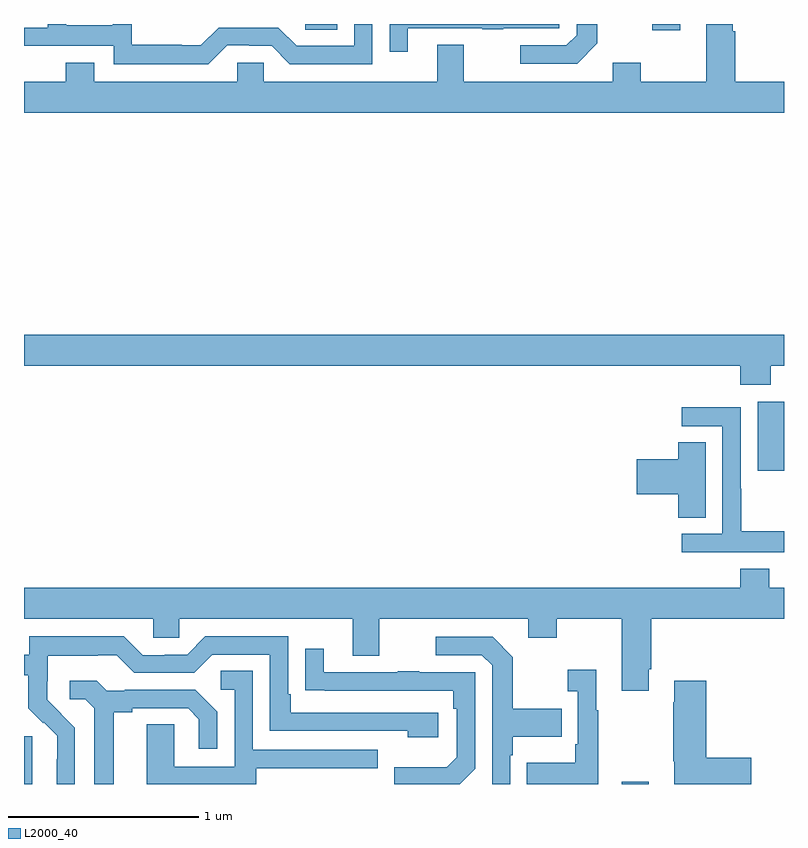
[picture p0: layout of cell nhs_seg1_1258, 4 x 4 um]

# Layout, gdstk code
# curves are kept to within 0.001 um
import gdstk
lib = gdstk.Library(unit=1e-6, precision=1e-09)
def R(c, l, rs):  # rectangles x0, y0, x1, y1
    for r in rs: c.add(gdstk.rectangle(r[:2], r[2:], *l))
def P(c, l, *ps):  # polygons
    for p in ps: c.add(gdstk.Polygon(p, *l))
L2000_40 = (2000, 40)

nhs_seg1_1258 = lib.new_cell('nhs_seg1_1258')
R(nhs_seg1_1258, L2000_40, [(179,548.199,179.044,548.451), (182.147,548.199,182.287,548.212), (182.861,549.849,183,550.21), (182.307,552.165,182.455,552.199), (180.48,552.169,180.648,552.199)])
P(nhs_seg1_1258, L2000_40, [(180.069,552.087),(180.185,552.087),(180.185,552.084),(180.303,552.084),(180.399,551.988),(180.834,551.988),(180.834,552.199),(180.738,552.199),(180.738,552.084),(180.435,552.084),(180.339,552.18),(180.024,552.18),(179.931,552.087),(179.831,552.087),(179.831,552.091),(179.568,552.091),(179.568,552.199),(179.467,552.199),(179.467,552.193),(179.223,552.193),(179.223,552.199),(179.124,552.199),(179.124,552.18),(179,552.18),(179,552.084),(179.472,552.084),(179.472,551.987),(179.969,551.987)],
  [(183,551.896),(182.744,551.896),(182.744,552.161),(182.731,552.161),(182.731,552.199),(182.591,552.199),(182.591,551.896),(182.247,551.896),(182.247,551.995),(182.099,551.995),(182.099,551.896),(181.315,551.896),(181.315,552.091),(181.175,552.091),(181.175,551.896),(180.261,551.896),(180.261,551.994),(180.123,551.994),(180.123,551.896),(179.371,551.896),(179.371,551.995),(179.219,551.995),(179.219,551.896),(179,551.896),(179,551.732),(183,551.732)],
  [(182.017,552.097),(182.017,552.199),(181.908,552.199),(181.908,552.141),(181.854,552.087),(181.611,552.087),(181.611,551.991),(181.911,551.991)],
  [(181.021,552.177),(181.411,552.177),(181.411,552.172),(181.523,552.172),(181.523,552.177),(181.818,552.177),(181.818,552.199),(180.925,552.199),(180.925,552.054),(181.021,552.054)],
  [(182.931,550.4),(183,550.4),(183,550.564),(179,550.564),(179,550.4),(182.771,550.4),(182.771,550.301),(182.931,550.301)],
  [(183,549.529),(182.775,549.529),(182.775,549.752),(182.772,549.752),(182.772,550.182),(182.463,550.182),(182.463,550.083),(182.676,550.083),(182.676,549.516),(182.463,549.516),(182.463,549.42),(183,549.42)],
  [(182.587,549.998),(182.444,549.998),(182.444,549.908),(182.226,549.908),(182.226,549.725),(182.444,549.725),(182.444,549.601),(182.587,549.601)],
  [(182.287,548.803),(182.3,548.803),(182.3,549.068),(183,549.068),(183,549.232),(182.923,549.232),(182.923,549.331),(182.771,549.331),(182.771,549.232),(179,549.232),(179,549.068),(179.679,549.068),(179.679,548.97),(179.817,548.97),(179.817,549.068),(180.731,549.068),(180.731,548.874),(180.871,548.874),(180.871,549.068),(181.655,549.068),(181.655,548.969),(181.803,548.969),(181.803,549.068),(182.147,549.068),(182.147,548.691),(182.287,548.691)],
  [(179.268,548.494),(179.122,548.642),(179.122,548.739),(179.124,548.739),(179.124,548.873),(179.387,548.873),(179.387,548.877),(179.487,548.877),(179.58,548.784),(179.895,548.784),(179.991,548.88),(180.294,548.88),(180.294,548.478),(181.019,548.478),(181.019,548.444),(181.18,548.444),(181.18,548.574),(180.403,548.574),(180.403,548.671),(180.39,548.671),(180.39,548.976),(179.955,548.976),(179.859,548.88),(179.741,548.88),(179.741,548.877),(179.625,548.877),(179.525,548.977),(179.028,548.977),(179.028,548.88),(179,548.88),(179,548.772),(179.023,548.772),(179.023,548.597),(179.1,548.52),(179.103,548.523),(179.174,548.453),(179.174,548.33),(179.172,548.33),(179.172,548.199),(179.268,548.199)],
  [(181.56,548.351),(181.573,548.351),(181.573,548.447),(181.829,548.447),(181.829,548.595),(181.573,548.595),(181.573,548.867),(181.467,548.973),(181.167,548.973),(181.167,548.877),(181.41,548.877),(181.464,548.823),(181.464,548.199),(181.56,548.199)],
  [(181.374,548.28),(181.374,548.787),(181.079,548.787),(181.079,548.792),(180.967,548.792),(180.967,548.787),(180.577,548.787),(180.577,548.911),(180.481,548.911),(180.481,548.692),(181.258,548.691),(181.258,548.594),(181.278,548.594),(181.278,548.34),(181.225,548.287),(180.948,548.287),(180.948,548.199),(181.293,548.199)],
  [(182.023,548.587),(182.011,548.587),(182.011,548.8),(181.863,548.8),(181.863,548.687),(181.914,548.687),(181.914,548.407),(181.902,548.407),(181.902,548.311),(181.645,548.311),(181.645,548.199),(182.023,548.199)],
  [(180.223,548.283),(180.863,548.283),(180.863,548.379),(180.204,548.379),(180.204,548.795),(180.036,548.795),(180.036,548.694),(180.108,548.694),(180.108,548.289),(179.79,548.289),(179.79,548.513),(179.645,548.513),(179.645,548.199),(180.223,548.199)],
  [(179.473,548.576),(179.569,548.576),(179.569,548.598),(179.864,548.598),(179.921,548.541),(179.921,548.385),(180.018,548.385),(180.018,548.578),(179.902,548.694),(179.53,548.694),(179.53,548.691),(179.436,548.691),(179.384,548.743),(179.241,548.743),(179.241,548.646),(179.322,548.646),(179.369,548.599),(179.369,548.199),(179.473,548.199)],
  [(182.827,548.336),(182.591,548.336),(182.591,548.743),(182.423,548.743),(182.423,548.63),(182.416,548.63),(182.416,548.319),(182.423,548.319),(182.423,548.199),(182.827,548.199)])

lib.write_gds('nhs_seg1_1258.gds')
